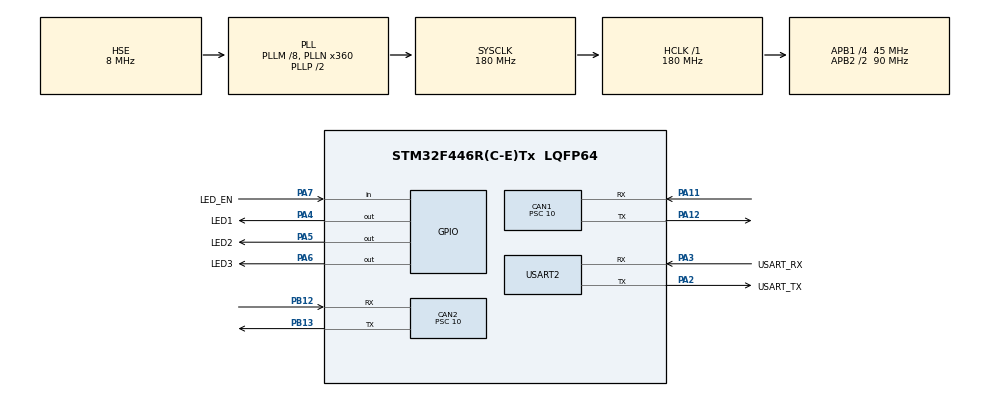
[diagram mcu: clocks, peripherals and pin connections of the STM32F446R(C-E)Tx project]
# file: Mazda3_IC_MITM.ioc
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CAN1.BS1=CAN_BS1_4TQ
CAN1.BS2=CAN_BS2_4TQ
CAN1.CalculateBaudRate=500000
CAN1.CalculateTimeBit=2000
CAN1.CalculateTimeQuantum=222.22222222222223
CAN1.Prescaler=10
CAN1.SJW=CAN_SJW_2TQ
CAN2.BS1=CAN_BS1_4TQ
CAN2.BS2=CAN_BS2_4TQ
CAN2.CalculateBaudRate=500000
CAN2.CalculateTimeBit=2000
CAN2.CalculateTimeQuantum=222.22222222222223
CAN2.Prescaler=10
CAN2.SJW=CAN_SJW_2TQ
Mcu.Family=STM32F4
Mcu.Name=STM32F446R(C-E)Tx
Mcu.Package=LQFP64
NVIC.CAN1_RX0_IRQn=true\:0\:0\:false\:false\:true\:true\:true\:true
NVIC.CAN2_RX1_IRQn=true\:0\:0\:false\:false\:true\:true\:true\:true
NVIC.PriorityGroup=NVIC_PRIORITYGROUP_2
NVIC.TIM1_UP_TIM10_IRQn=true\:2\:0\:true\:false\:true\:true\:true\:true
NVIC.TIM2_IRQn=true\:2\:0\:true\:false\:true\:true\:true\:true
NVIC.USART2_IRQn=true\:1\:0\:true\:false\:true\:true\:true\:true
PA11.Mode=CAN_Activate
PA11.Signal=CAN1_RX
PA12.Mode=CAN_Activate
PA12.Signal=CAN1_TX
PA13.GPIO_Label=TMS
PA13.Mode=Trace_Asynchronous_SW
PA13.Signal=SYS_JTMS-SWDIO
PA14.GPIO_Label=TCK
PA14.Mode=Trace_Asynchronous_SW
PA14.Signal=SYS_JTCK-SWCLK
PA2.GPIO_Label=USART_TX
PA2.Mode=Asynchronous
PA2.Signal=USART2_TX
PA3.GPIO_Label=USART_RX
PA3.Mode=Asynchronous
PA3.Signal=USART2_RX
PA4.GPIO_Label=LED1
PA4.Signal=GPIO_Output
PA5.GPIO_Label=LED2
PA5.Signal=GPIO_Output
PA6.GPIO_Label=LED3
PA6.Signal=GPIO_Output
PA7.GPIO_Label=LED_EN
PA7.GPIO_PuPd=GPIO_PULLDOWN
PA7.Signal=GPIO_Input
PB12.Mode=CAN_Activate
PB12.Signal=CAN2_RX
PB13.Mode=CAN_Activate
PB13.Signal=CAN2_TX
PB3.GPIO_Label=SWO
PB3.Mode=Trace_Asynchronous_SW
PB3.Signal=SYS_JTDO-SWO
PH0-OSC_IN.Mode=HSE-External-Clock-Source
PH0-OSC_IN.Signal=RCC_OSC_IN
PH1-OSC_OUT.Mode=HSE-External-Clock-Source
PH1-OSC_OUT.Signal=RCC_OSC_OUT
ProjectManager.HeapSize=0x600
ProjectManager.StackSize=0x800
ProjectManager.TargetToolchain=STM32CubeIDE
RCC.48MHZClocksFreq_Value=84000000
RCC.AHBFreq_Value=180000000
RCC.APB1CLKDivider=RCC_HCLK_DIV4
RCC.APB1Freq_Value=45000000
RCC.APB1TimFreq_Value=90000000
RCC.APB2CLKDivider=RCC_HCLK_DIV2
RCC.APB2Freq_Value=90000000
RCC.APB2TimFreq_Value=180000000
RCC.CortexFreq_Value=180000000
RCC.FLatency-AdvancedSettings=FLASH_LATENCY_5
RCC.HCLKFreq_Value=180000000
RCC.HSE_Timout=100
RCC.HSE_VALUE=8000000
RCC.HSI_VALUE=16000000
RCC.PLLM=8
RCC.PLLN=360
RCC.PLLSourceVirtual=RCC_PLLSOURCE_HSE
RCC.SYSCLKFreq_VALUE=180000000
RCC.SYSCLKSource=RCC_SYSCLKSOURCE_PLLCLK
RCC.USBFreq_Value=180000000
RCC.VCOOutputFreq_Value=360000000
USART2.VirtualMode=VM_ASYNC
VP_TIM1_VS_ClockSourceINT.Mode=Internal
VP_TIM2_VS_ClockSourceINT.Mode=Internal
VP_WWDG_VS_WWDG.Mode=WWDG_Activate
WWDG.Counter=126
WWDG.Prescaler=WWDG_PRESCALER_8
WWDG.Window=126
board=NUCLEO-F446RE

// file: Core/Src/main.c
/* USER CODE BEGIN Header */
/**
  ******************************************************************************
  * @file           : main.c
  * @brief          : Main program body
  ******************************************************************************
  * @attention
  *
  * Copyright (c) 2024 STMicroelectronics.
  * All rights reserved.
  *
  * This software is licensed under terms that can be found in the LICENSE file
  * in the root directory of this software component.
  * If no LICENSE file comes with this software, it is provided AS-IS.
  *
  ******************************************************************************
  */
/* USER CODE END Header */
#include "main.h"

/* USER CODE BEGIN Includes */
#include "CC_LED_Handler.h"
#include "CC_CAN_Handler.h"
#include "CC_UART_Handler.h"
/* USER CODE END Includes */

CAN_HandleTypeDef hcan1;
CAN_HandleTypeDef hcan2;

TIM_HandleTypeDef htim1;
TIM_HandleTypeDef htim2;

UART_HandleTypeDef huart2;

WWDG_HandleTypeDef hwwdg;

void SystemClock_Config(void);
static void MX_GPIO_Init(void);
static void MX_USART2_UART_Init(void);
static void MX_CAN1_Init(void);
static void MX_CAN2_Init(void);
static void MX_TIM1_Init(void);
static void MX_WWDG_Init(void);
static void MX_TIM2_Init(void);

/* USER CODE BEGIN 0 */
void HAL_TIM_PeriodElapsedCallback(TIM_HandleTypeDef* htim){
	if (htim == &htim1) 		CC_LED_TimIRQ();
	else if (htim == &htim2)	CC_UART_TimIRQ();
}
/* USER CODE END 0 */

int main(void)
{

  /* MCU Configuration--------------------------------------------------------*/

  /* Reset of all peripherals, Initializes the Flash interface and the Systick. */
  HAL_Init();

  /* Configure the system clock */
  SystemClock_Config();

  /* Initialize all configured peripherals */
  MX_GPIO_Init();
  MX_USART2_UART_Init();
  MX_CAN1_Init();
  MX_CAN2_Init();
  MX_TIM1_Init();
  MX_WWDG_Init();
  MX_TIM2_Init();
  /* USER CODE BEGIN 2 */

  HAL_WWDG_Refresh(&hwwdg);

  CC_LED_Init(&htim1);
  HAL_WWDG_Refresh(&hwwdg);
  CC_UART_Init(&huart2, &htim2);
  HAL_WWDG_Refresh(&hwwdg);
  CC_CAN_Init(&hcan1, &hcan2);

  HAL_WWDG_Refresh(&hwwdg);

  /* USER CODE END 2 */

  /* Infinite loop */
  /* USER CODE BEGIN WHILE */
  /*uint8_t cnt=0;
  uint8_t c='A';*/
  while (1){
	  /*if (cnt == 100){
		  HAL_UART_Transmit_IT(&huart2, (const uint8_t*)(&c), 1);
		  cnt=0;
	  }
	  ++cnt;*/
    /* USER CODE END WHILE */

    /* USER CODE BEGIN 3 */
	HAL_Delay(10);
	HAL_WWDG_Refresh(&hwwdg);
  }
  /* USER CODE END 3 */
}

void SystemClock_Config(void)
{
  RCC_OscInitTypeDef RCC_OscInitStruct = {0};
  RCC_ClkInitTypeDef RCC_ClkInitStruct = {0};

  /** Configure the main internal regulator output voltage
  */
  __HAL_RCC_PWR_CLK_ENABLE();
  __HAL_PWR_VOLTAGESCALING_CONFIG(PWR_REGULATOR_VOLTAGE_SCALE1);

  /** Initializes the RCC Oscillators according to the specified parameters
  * in the RCC_OscInitTypeDef structure.
  */
  RCC_OscInitStruct.OscillatorType = RCC_OSCILLATORTYPE_HSE;
  RCC_OscInitStruct.HSEState = RCC_HSE_BYPASS;
  RCC_OscInitStruct.PLL.PLLState = RCC_PLL_ON;
  RCC_OscInitStruct.PLL.PLLSource = RCC_PLLSOURCE_HSE;
  RCC_OscInitStruct.PLL.PLLM = 8;
  RCC_OscInitStruct.PLL.PLLN = 360;
  RCC_OscInitStruct.PLL.PLLP = RCC_PLLP_DIV2;
  RCC_OscInitStruct.PLL.PLLQ = 2;
  RCC_OscInitStruct.PLL.PLLR = 2;
  if (HAL_RCC_OscConfig(&RCC_OscInitStruct) != HAL_OK)
  {
    Error_Handler();
  }

  /** Activate the Over-Drive mode
  */
  if (HAL_PWREx_EnableOverDrive() != HAL_OK)
  {
    Error_Handler();
  }

  /** Initializes the CPU, AHB and APB buses clocks
  */
  RCC_ClkInitStruct.ClockType = RCC_CLOCKTYPE_HCLK|RCC_CLOCKTYPE_SYSCLK
                              |RCC_CLOCKTYPE_PCLK1|RCC_CLOCKTYPE_PCLK2;
  RCC_ClkInitStruct.SYSCLKSource = RCC_SYSCLKSOURCE_PLLCLK;
  RCC_ClkInitStruct.AHBCLKDivider = RCC_SYSCLK_DIV1;
  RCC_ClkInitStruct.APB1CLKDivider = RCC_HCLK_DIV4;
  RCC_ClkInitStruct.APB2CLKDivider = RCC_HCLK_DIV2;

  if (HAL_RCC_ClockConfig(&RCC_ClkInitStruct, FLASH_LATENCY_5) != HAL_OK)
  {
    Error_Handler();
  }
}

static void MX_CAN1_Init(void)
{

  /* USER CODE BEGIN CAN1_Init 0 */
	return;
  /* USER CODE END CAN1_Init 0 */

  hcan1.Instance = CAN1;
  hcan1.Init.Prescaler = 10;
  hcan1.Init.Mode = CAN_MODE_NORMAL;
  hcan1.Init.SyncJumpWidth = CAN_SJW_2TQ;
  hcan1.Init.TimeSeg1 = CAN_BS1_4TQ;
  hcan1.Init.TimeSeg2 = CAN_BS2_4TQ;
  hcan1.Init.TimeTriggeredMode = DISABLE;
  hcan1.Init.AutoBusOff = DISABLE;
  hcan1.Init.AutoWakeUp = DISABLE;
  hcan1.Init.AutoRetransmission = DISABLE;
  hcan1.Init.ReceiveFifoLocked = DISABLE;
  hcan1.Init.TransmitFifoPriority = DISABLE;
  if (HAL_CAN_Init(&hcan1) != HAL_OK)
  {
    Error_Handler();
  }

}

static void MX_CAN2_Init(void)
{

  /* USER CODE BEGIN CAN2_Init 0 */
	return;
  /* USER CODE END CAN2_Init 0 */

  hcan2.Instance = CAN2;
  hcan2.Init.Prescaler = 10;
  hcan2.Init.Mode = CAN_MODE_NORMAL;
  hcan2.Init.SyncJumpWidth = CAN_SJW_2TQ;
  hcan2.Init.TimeSeg1 = CAN_BS1_4TQ;
  hcan2.Init.TimeSeg2 = CAN_BS2_4TQ;
  hcan2.Init.TimeTriggeredMode = DISABLE;
  hcan2.Init.AutoBusOff = DISABLE;
  hcan2.Init.AutoWakeUp = DISABLE;
  hcan2.Init.AutoRetransmission = DISABLE;
  hcan2.Init.ReceiveFifoLocked = DISABLE;
  hcan2.Init.TransmitFifoPriority = DISABLE;
  if (HAL_CAN_Init(&hcan2) != HAL_OK)
  {
    Error_Handler();
  }

}

static void MX_TIM1_Init(void)
{

  TIM_ClockConfigTypeDef sClockSourceConfig = {0};
  TIM_MasterConfigTypeDef sMasterConfig = {0};

  htim1.Instance = TIM1;
  htim1.Init.Prescaler = 0;
  htim1.Init.CounterMode = TIM_COUNTERMODE_UP;
  htim1.Init.Period = 65535;
  htim1.Init.ClockDivision = TIM_CLOCKDIVISION_DIV1;
  htim1.Init.RepetitionCounter = 0;
  htim1.Init.AutoReloadPreload = TIM_AUTORELOAD_PRELOAD_DISABLE;
  if (HAL_TIM_Base_Init(&htim1) != HAL_OK)
  {
    Error_Handler();
  }
  sClockSourceConfig.ClockSource = TIM_CLOCKSOURCE_INTERNAL;
  if (HAL_TIM_ConfigClockSource(&htim1, &sClockSourceConfig) != HAL_OK)
  {
    Error_Handler();
  }
  sMasterConfig.MasterOutputTrigger = TIM_TRGO_RESET;
  sMasterConfig.MasterSlaveMode = TIM_MASTERSLAVEMODE_DISABLE;
  if (HAL_TIMEx_MasterConfigSynchronization(&htim1, &sMasterConfig) != HAL_OK)
  {
    Error_Handler();
  }

}

static void MX_TIM2_Init(void)
{

  TIM_ClockConfigTypeDef sClockSourceConfig = {0};
  TIM_MasterConfigTypeDef sMasterConfig = {0};

  htim2.Instance = TIM2;
  htim2.Init.Prescaler = 0;
  htim2.Init.CounterMode = TIM_COUNTERMODE_UP;
  htim2.Init.Period = 4294967295;
  htim2.Init.ClockDivision = TIM_CLOCKDIVISION_DIV1;
  htim2.Init.AutoReloadPreload = TIM_AUTORELOAD_PRELOAD_DISABLE;
  if (HAL_TIM_Base_Init(&htim2) != HAL_OK)
  {
    Error_Handler();
  }
  sClockSourceConfig.ClockSource = TIM_CLOCKSOURCE_INTERNAL;
  if (HAL_TIM_ConfigClockSource(&htim2, &sClockSourceConfig) != HAL_OK)
  {
    Error_Handler();
  }
  sMasterConfig.MasterOutputTrigger = TIM_TRGO_RESET;
  sMasterConfig.MasterSlaveMode = TIM_MASTERSLAVEMODE_DISABLE;
  if (HAL_TIMEx_MasterConfigSynchronization(&htim2, &sMasterConfig) != HAL_OK)
  {
    Error_Handler();
  }

}

static void MX_USART2_UART_Init(void)
{

  huart2.Instance = USART2;
  huart2.Init.BaudRate = 115200;
  huart2.Init.WordLength = UART_WORDLENGTH_8B;
  huart2.Init.StopBits = UART_STOPBITS_1;
  huart2.Init.Parity = UART_PARITY_NONE;
  huart2.Init.Mode = UART_MODE_TX_RX;
  huart2.Init.HwFlowCtl = UART_HWCONTROL_NONE;
  huart2.Init.OverSampling = UART_OVERSAMPLING_16;
  if (HAL_UART_Init(&huart2) != HAL_OK)
  {
    Error_Handler();
  }

}

static void MX_WWDG_Init(void)
{

  hwwdg.Instance = WWDG;
  hwwdg.Init.Prescaler = WWDG_PRESCALER_8;
  hwwdg.Init.Window = 126;
  hwwdg.Init.Counter = 126;
  hwwdg.Init.EWIMode = WWDG_EWI_DISABLE;
  if (HAL_WWDG_Init(&hwwdg) != HAL_OK)
  {
    Error_Handler();
  }

}

static void MX_GPIO_Init(void)
{
  GPIO_InitTypeDef GPIO_InitStruct = {0};

  /* GPIO Ports Clock Enable */
  __HAL_RCC_GPIOH_CLK_ENABLE();
  __HAL_RCC_GPIOA_CLK_ENABLE();
  __HAL_RCC_GPIOB_CLK_ENABLE();

  /*Configure GPIO pin Output Level */
  HAL_GPIO_WritePin(GPIOA, LED1_Pin|LED2_Pin|LED3_Pin, GPIO_PIN_RESET);

  /*Configure GPIO pins : LED1_Pin LED2_Pin LED3_Pin */
  GPIO_InitStruct.Pin = LED1_Pin|LED2_Pin|LED3_Pin;
  GPIO_InitStruct.Mode = GPIO_MODE_OUTPUT_PP;
  GPIO_InitStruct.Pull = GPIO_NOPULL;
  GPIO_InitStruct.Speed = GPIO_SPEED_FREQ_LOW;
  HAL_GPIO_Init(GPIOA, &GPIO_InitStruct);

  /*Configure GPIO pin : LED_EN_Pin */
  GPIO_InitStruct.Pin = LED_EN_Pin;
  GPIO_InitStruct.Mode = GPIO_MODE_INPUT;
  GPIO_InitStruct.Pull = GPIO_PULLDOWN;
  HAL_GPIO_Init(LED_EN_GPIO_Port, &GPIO_InitStruct);

}

void Error_Handler(void)
{
  __disable_irq();
  while (1)
  {
  }
}
